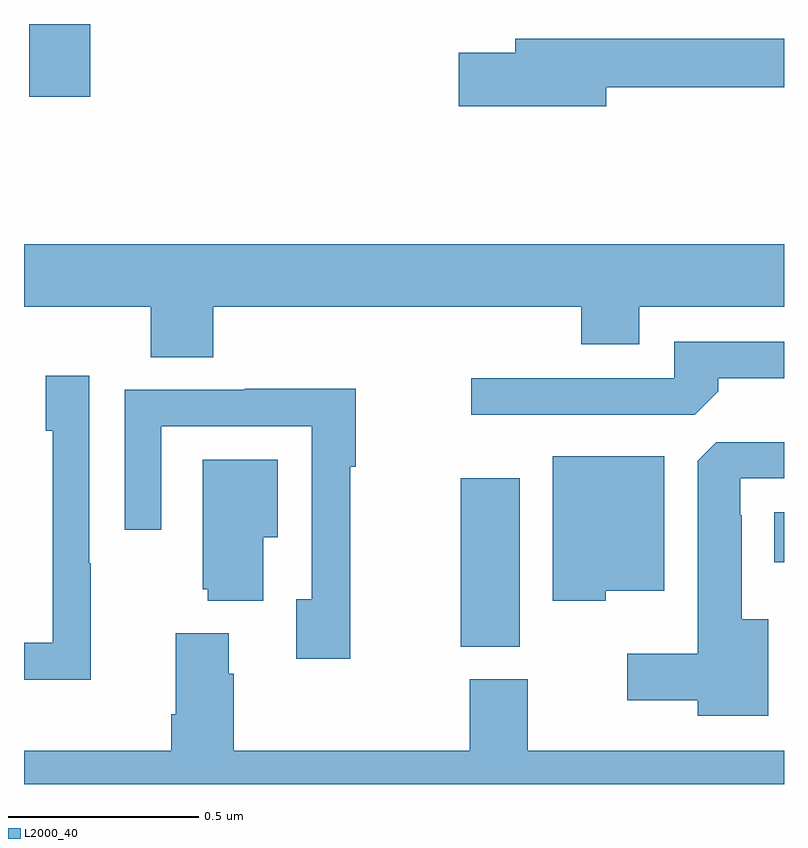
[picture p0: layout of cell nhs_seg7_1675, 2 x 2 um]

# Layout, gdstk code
import gdstk
lib = gdstk.Library(unit=1e-6, precision=1e-09)
def R(c, l, rs):  # rectangles x0, y0, x1, y1
    for r in rs: c.add(gdstk.rectangle(r[:2], r[2:], *l))
def P(c, l, *ps):  # polygons
    for p in ps: c.add(gdstk.Polygon(p, *l))
L2000_40 = (2000, 40)

nhs_seg7_1675 = lib.new_cell('nhs_seg7_1675')
R(nhs_seg7_1675, L2000_40, [(135.149,1026.361,135.304,1026.805), (135.974,1026.584,136,1026.715), (134.014,1027.809,134.174,1028)])
P(nhs_seg7_1675, L2000_40, [(135.532,1027.833),(136,1027.833),(136,1027.961),(135.293,1027.961),(135.293,1027.925),(135.144,1027.925),(135.144,1027.783),(135.532,1027.783)],
  [(134.498,1027.256),(135.467,1027.256),(135.467,1027.157),(135.619,1027.157),(135.619,1027.256),(136,1027.256),(136,1027.42),(134,1027.42),(134,1027.256),(134.333,1027.256),(134.333,1027.123),(134.498,1027.123)],
  [(135.827,1027.034),(135.827,1027.068),(136,1027.068),(136,1027.164),(135.711,1027.164),(135.711,1027.068),(135.177,1027.068),(135.177,1026.972),(135.765,1026.972)],
  [(134.175,1026.581),(134.172,1026.581),(134.172,1027.075),(134.057,1027.075),(134.057,1026.93),(134.076,1026.93),(134.076,1026.372),(134,1026.372),(134,1026.275),(134.175,1026.275)],
  [(134.858,1026.835),(134.873,1026.835),(134.873,1027.04),(134.581,1027.04),(134.581,1027.038),(134.265,1027.038),(134.265,1026.669),(134.361,1026.669),(134.361,1026.942),(134.757,1026.942),(134.757,1026.486),(134.717,1026.486),(134.717,1026.33),(134.858,1026.33)],
  [(135.958,1026.433),(135.889,1026.433),(135.889,1026.707),(135.885,1026.707),(135.885,1026.804),(136,1026.804),(136,1026.9),(135.822,1026.9),(135.773,1026.851),(135.773,1026.343),(135.588,1026.343),(135.588,1026.221),(135.773,1026.221),(135.773,1026.179),(135.958,1026.179)],
  [(135.531,1026.509),(135.685,1026.509),(135.685,1026.862),(135.392,1026.862),(135.392,1026.482),(135.531,1026.482)],
  [(134.629,1026.65),(134.668,1026.65),(134.668,1026.853),(134.471,1026.853),(134.471,1026.513),(134.483,1026.513),(134.483,1026.482),(134.629,1026.482)],
  [(136,1026.088),(135.325,1026.088),(135.325,1026.276),(135.173,1026.276),(135.173,1026.088),(134.552,1026.088),(134.552,1026.29),(134.539,1026.29),(134.539,1026.397),(134.399,1026.397),(134.399,1026.184),(134.387,1026.184),(134.387,1026.088),(134,1026.088),(134,1026),(136,1026)])

lib.write_gds('nhs_seg7_1675.gds')
